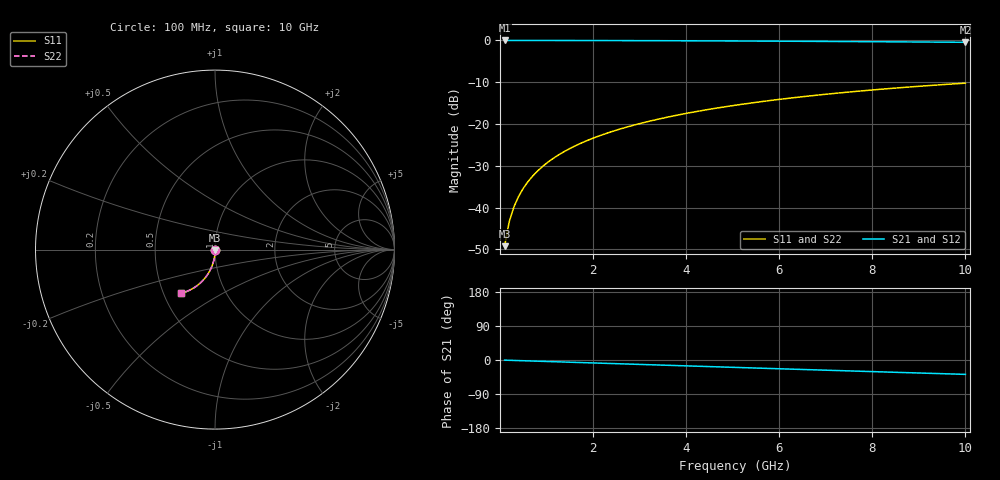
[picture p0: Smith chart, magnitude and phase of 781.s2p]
# Hz S RI R 50.00
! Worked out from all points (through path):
!   100 points, 100 MHz to 10 GHz, reference 50 ohm
!   highest |S21| = -0.01 dB at 100 MHz (marker M1); lowest = -0.4 dB at 10 GHz (marker M2)
!   group delay of S21, straight-line fit = 10.6 ps
!   lowest |S11| = -49.2 dB at 100 MHz (marker M3), VSWR 1.01, Z = 50.1 - j0.34 ohm
!   |S11| at or under -10 dB: start of sweep to end of sweep
!   |S22| runs from -49.2 to -10.2 dB; largest |S21 - S12| = 0
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1e8  0.000631 -0.0034  0.9993 -0.00676  0.9993 -0.00676  0.000631 -0.0034
2e8  0.000562 -0.00679  0.9992 -0.0135  0.9992 -0.0135  0.000562 -0.00679
3e8  0.000445 -0.0102  0.9991 -0.0203  0.9991 -0.0203  0.000445 -0.0102
4e8  0.000282 -0.0136  0.9989 -0.027  0.9989 -0.027  0.000282 -0.0136
5e8  7.29e-05 -0.017  0.9986 -0.0338  0.9986 -0.0338  7.29e-05 -0.017
6e8  -0.000182 -0.0204  0.9983 -0.0406  0.9983 -0.0406  -0.000182 -0.0204
7e8  -0.000484 -0.0237  0.9979 -0.0473  0.9979 -0.0473  -0.000484 -0.0237
8e8  -0.000831 -0.0271  0.9974 -0.0541  0.9974 -0.0541  -0.000831 -0.0271
9e8  -0.00122 -0.0305  0.997 -0.0608  0.997 -0.0608  -0.00122 -0.0305
1.1e9  -0.00215 -0.0372  0.9958 -0.0743  0.9958 -0.0743  -0.00215 -0.0372
1.4e9  -0.00387 -0.0473  0.9936 -0.0944  0.9936 -0.0944  -0.00387 -0.0473
1.8e9  -0.0068 -0.0605  0.99 -0.1212  0.99 -0.1212  -0.0068 -0.0605
2.1e9  -0.00947 -0.0704  0.9866 -0.1412  0.9866 -0.1412  -0.00947 -0.0704
2.5e9  -0.0136 -0.0833  0.9814 -0.1676  0.9814 -0.1676  -0.0136 -0.0833
2.9e9  -0.0185 -0.096  0.9753 -0.1938  0.9753 -0.1938  -0.0185 -0.096
3.4e9  -0.0255 -0.1114  0.9665 -0.2261  0.9665 -0.2261  -0.0255 -0.1114
4.2e9  -0.0388 -0.1349  0.9497 -0.2767  0.9497 -0.2767  -0.0388 -0.1349
5.1e9  -0.0565 -0.1593  0.927 -0.3318  0.927 -0.3318  -0.0565 -0.1593
5.9e9  -0.0745 -0.179  0.9038 -0.3787  0.9038 -0.3787  -0.0745 -0.179
6.7e9  -0.0944 -0.1966  0.878 -0.4236  0.878 -0.4236  -0.0944 -0.1966
8.4e9  -0.1413 -0.226  0.8155 -0.5114  0.8155 -0.5114  -0.1413 -0.226
1e10  -0.1892 -0.2433  0.7493 -0.584  0.7493 -0.584  -0.1892 -0.2433
